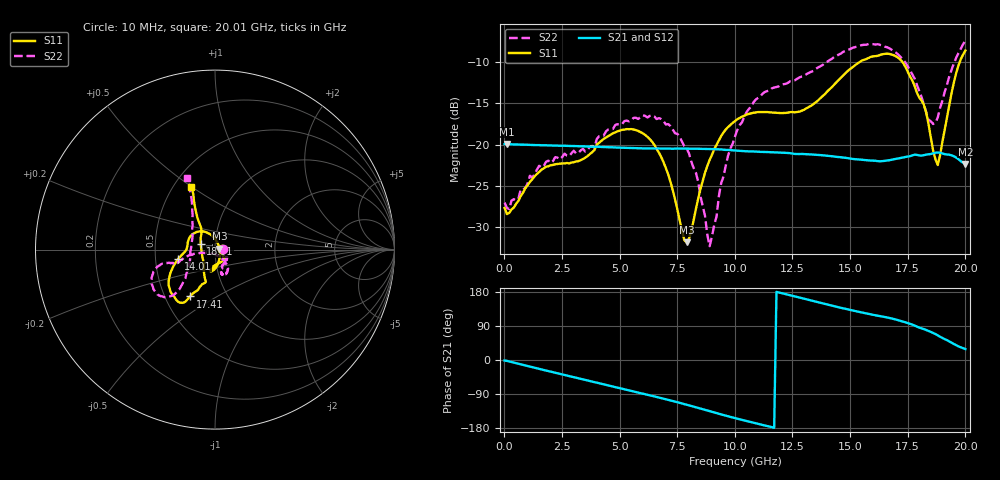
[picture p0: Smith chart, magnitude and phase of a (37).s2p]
! Hittite Microwave Corporation
! 2 Elizabeth Drive
! Chelmsford, MA 01824
! http://www.hittite.com
! Tel: 978-250-3343
! Fax: 978-250-3373
! Device:  HMC424LP3
! Description: 0.5 dB GaAs MMIC 6-Bit Digital Attenuator
! Frequency:  DC -  13.00 GHz
! Package:  LP3  - 3x3 mm Quad Flatpack No-Lead (QFN) Plastic Package: 16 pin
! Ports:  2 RF, 7 DC
!  Pad  1  = Ground
!  Pad  2  = RF IN  = Port 1
!  Pad  3  = Ground
!  Pad  4  = V6
!  Pad  5  = V5
!  Pad  6  = V4
!  Pad  7  = V3
!  Pad  8  = V2
!  Pad  9  = V1
!  Pad 10  = Ground
!  Pad 11  = RF OUT  = Port 2
!  Pad 12  = Ground
!  Pad 15  = VEE
! Control:  -5 Volt control voltage
! State:  35
! Attenuation:  17.5 dB
! Voltages:  Vdd = -5.00 Volts  Idd =  -2.396 mA
!  V1  = -5.00 Volts  I1  =  -1.0 uA
!  V2  = -5.00 Volts  I2  =  -1.0 uA
!  V3  = 0.00 Volts  I3  =  29.0 uA
!  V4  = 0.00 Volts  I4  =  30.0 uA
!  V5  = 0.00 Volts  I5  =  29.0 uA
!  V6  = -5.00 Volts  I6  =  -1.0 uA
! Data:  The device was measured on evaluation board 105354-1.
!  Data was collected using a calibrated network analyzer.
!  The evaluation circuit board was modeled and simulated.  This was use
!  to removed the evaluation board circuit from the measured data.
!  The reference plane is the edge of the package pin.
! Misc:  Lot xxxx, Unit 1
!  Application 20120001, Data collected in Application 20090083
! Date Measured:  2009-09-15
! Date:  2012-05-14  MJV
! Note:
!  Hittite supplies this data as a sample of measured data at the package pin
!  for this product.  Your particular data for this product may vary.
!  Data was taken at 25 degrees C.
!  Hittite reserves the right to change this data at anytime.
# GHz S MA R 50
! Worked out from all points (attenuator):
!   201 points, 10 MHz to 20.01 GHz, reference 50 ohm
!   highest |S21| = -19.93 dB at 110 MHz (marker M1); lowest = -22.4 dB at 20.01 GHz (marker M2)
!   lowest |S11| = -31.9 dB at 7.91 GHz (marker M3), VSWR 1.05, Z = 52.6 + j0.493 ohm
!   |S11| at or under -10 dB: start of sweep to 15.41 GHz; 17.28 GHz to 19.76 GHz (2.48 GHz wide, 13.4 % of centre)
!   |S22| runs from -32.3 to -7.4 dB; largest |S21 - S12| = 0.00057
!   S11 on the Smith chart (normalised r, x): 10 MHz: 1.09, +0.01; 14.01 GHz: 0.66, -0.07; 17.41 GHz: 0.67, -0.38; 18.91 GHz: 0.85, +0.05; 20.01 GHz: 0.61, +0.49
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0.01  0.04115 5.1  0.1006 -1.4  0.1002 -1.6  0.04441 7.9
0.11  0.03781 -6.0  0.1008 -2.3  0.1007 -2.3  0.04113 0.6
1.61  0.07036 -45.2  0.09893 -24.9  0.09898 -24.9  0.0725 -28.5
3.41  0.08163 -81.8  0.09751 -51.4  0.09738 -51.4  0.09414 -54.2
5.31  0.1241 -101.3  0.09533 -78.9  0.09533 -79.0  0.1398 -73.3
6.71  0.0891 -82.2  0.09456 -99.1  0.09447 -99.1  0.1446 -63.4
7.91  0.02541 10.6  0.09451 -118.0  0.09443 -117.9  0.09485 -52.1
8.41  0.0468 77.8  0.09419 -126.3  0.09406 -126.3  0.05964 -50.3
8.91  0.08067 103.2  0.09406 -134.9  0.09396 -135.0  0.02414 -104.9
9.41  0.1125 119.1  0.09338 -143.6  0.09327 -143.7  0.05831 -159.6
10.01  0.1387 134.2  0.09201 -153.3  0.09193 -153.3  0.1118 -168.8
11.21  0.1574 159.9  0.09025 -171.4  0.09 -171.3  0.2038 -162.7
13.41  0.1759 -173.8  0.0868 155.6  0.08663 155.6  0.2799 -164.7
14.01  0.2096 -166.2  0.08548 146.5  0.08534 146.5  0.3184 -164.2
15.51  0.323 -143.3  0.08082 125.6  0.08076 125.6  0.4016 -151.3
16.71  0.3551 -123.8  0.08028 111.0  0.08007 111.0  0.3838 -136.2
17.41  0.2957 -118.1  0.08404 99.4  0.084 99.4  0.3138 -131.9
18.41  0.1331 -117.9  0.08715 76.4  0.08702 76.4  0.1413 -165.5
18.71  0.08132 -150.0  0.0892 68.5  0.08898 68.5  0.1357 162.2
18.91  0.08609 158.6  0.08929 61.4  0.08905 61.4  0.1666 140.3
19.51  0.2383 116.6  0.08488 42.3  0.08472 42.3  0.3112 114.8
20.01  0.372 111.5  0.07621 28.9  0.07626 29.2  0.4285 111.2
